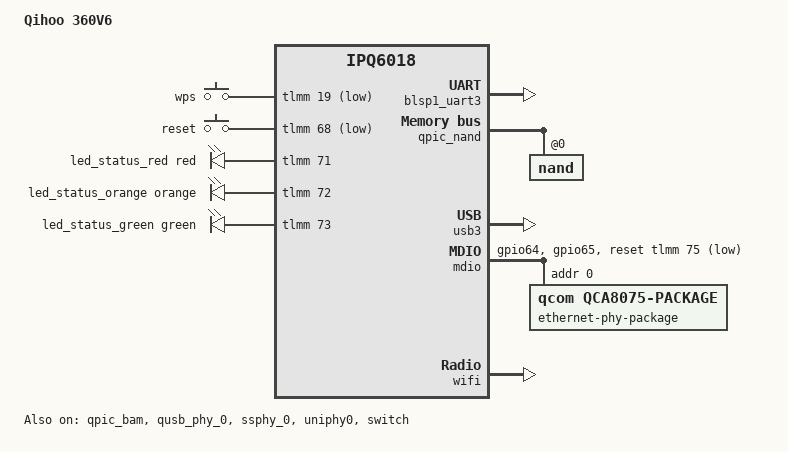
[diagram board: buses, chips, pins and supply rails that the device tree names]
// SPDX-License-Identifier: GPL-2.0-or-later OR MIT

/dts-v1/;

#include "ipq6018-512m.dtsi"
#include "ipq6018-ess.dtsi"
#include "ipq6018-cp-cpu.dtsi"

#include <dt-bindings/gpio/gpio.h>
#include <dt-bindings/input/input.h>
#include <dt-bindings/leds/common.h>

/ {
	model = "Qihoo 360V6";
	compatible = "qihoo,360v6", "qcom,ipq6018";

	aliases {
		serial0 = &blsp1_uart3;
		led-boot = &led_status_red;
		led-failsafe = &led_status_red;
		led-running = &led_status_green;
		led-upgrade = &led_status_orange;
	};

	chosen {
		stdout-path = "serial0:115200n8";
		bootargs-append = " root=/dev/ubiblock0_1";
	};

	keys {
		compatible = "gpio-keys";

		wps {
			label = "wps";
			linux,code = <KEY_WPS_BUTTON>;
			gpios = <&tlmm 19 GPIO_ACTIVE_LOW>;
		};

		reset {
			label = "reset";
			linux,code = <KEY_RESTART>;
			gpios = <&tlmm 68 GPIO_ACTIVE_LOW>;
		};
	};

	leds {
		compatible = "gpio-leds";

		led_status_red: red {
			color = <LED_COLOR_ID_RED>;
			function = LED_FUNCTION_STATUS;
			gpios = <&tlmm 71 GPIO_ACTIVE_HIGH>;
		};

		led_status_orange: orange {
			color = <LED_COLOR_ID_ORANGE>;
			function = LED_FUNCTION_STATUS;
			gpios = <&tlmm 72 GPIO_ACTIVE_HIGH>;
		};

		led_status_green: green {
			color = <LED_COLOR_ID_GREEN>;
			function = LED_FUNCTION_STATUS;
			gpios = <&tlmm 73 GPIO_ACTIVE_HIGH>;
		};
	};
};

&tlmm {
	mdio_pins: mdio-pins {
		mdc {
			pins = "gpio64";
			function = "mdc";
			drive-strength = <8>;
			bias-pull-up;
		};

		mdio {
			pins = "gpio65";
			function = "mdio";
			drive-strength = <8>;
			bias-pull-up;
		};
	};
};

&blsp1_uart3 {
	pinctrl-0 = <&serial_3_pins>;
	pinctrl-names = "default";
	status = "okay";
};

&qpic_bam {
	status = "okay";
};

&qpic_nand {
	status = "okay";

	nand@0 {
		reg = <0>;
		nand-ecc-strength = <4>;
		nand-ecc-step-size = <512>;
		nand-bus-width = <8>;

		partitions {
			compatible = "qcom,smem-part";
		};
	};
};

&qusb_phy_0 {
	status = "okay";
};

&ssphy_0 {
	status = "okay";
};

&usb3 {
	status = "okay";
};

&mdio {
	status = "okay";

	pinctrl-0 = <&mdio_pins>;
	pinctrl-names = "default";
	reset-gpios = <&tlmm 75 GPIO_ACTIVE_LOW>;

	ethernet-phy-package@0 {
		compatible = "qcom,qca8075-package";
		#address-cells = <1>;
		#size-cells = <0>;
		reg = <0>;

		qca8075_0: ethernet-phy@0 {
			compatible = "ethernet-phy-ieee802.3-c22";
			reg = <0>;
		};

		qca8075_1: ethernet-phy@1 {
			compatible = "ethernet-phy-ieee802.3-c22";
			reg = <1>;
		};

		qca8075_2: ethernet-phy@2 {
			compatible = "ethernet-phy-ieee802.3-c22";
			reg = <2>;
		};

		qca8075_3: ethernet-phy@3 {
			compatible = "ethernet-phy-ieee802.3-c22";
			reg = <3>;
		};
	};
};

&uniphy0 {
	status = "okay";
};

&switch {
	status = "okay";

	ports {
		#address-cells = <1>;
		#size-cells = <0>;

		port@0 {
			reg = <0>;
			ethernet = <&edma>;
			phy-mode = "internal";

			fixed-link {
				speed = <1000>;
				full-duplex;
			};
		};

		port@1 {
			reg = <1>;
			label = "lan1";
			phy-handle = <&qca8075_0>;
			phy-mode = "psgmii";
			pcs-handle = <&uniphy0 0>;
		};

		port@2 {
			reg = <2>;
			label = "lan2";
			phy-handle = <&qca8075_1>;
			phy-mode = "psgmii";
			pcs-handle = <&uniphy0 1>;
		};

		port@3 {
			reg = <3>;
			label = "lan3";
			phy-handle = <&qca8075_2>;
			phy-mode = "psgmii";
			pcs-handle = <&uniphy0 2>;
		};

		port@4 {
			reg = <4>;
			label = "wan";
			phy-handle = <&qca8075_3>;
			phy-mode = "psgmii";
			pcs-handle = <&uniphy0 3>;
		};
	};
};

&edma {
	status = "okay";
};

&wifi {
	status = "okay";

	qcom,ath11k-fw-memory-mode = <1>;
	qcom,ath11k-calibration-variant = "Qihoo-360V6";
};
